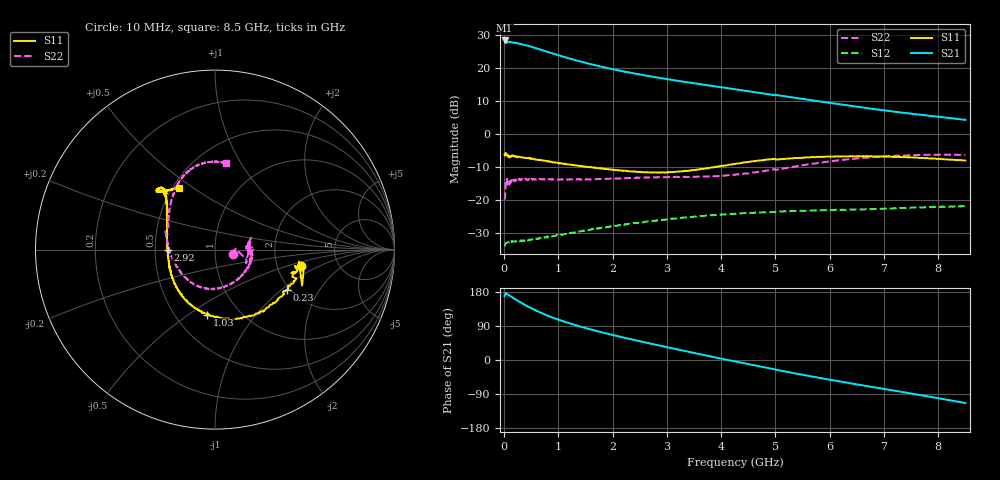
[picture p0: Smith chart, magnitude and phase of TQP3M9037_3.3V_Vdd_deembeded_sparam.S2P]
!TQP3M9037
!De-embedded S-parameters 10MHz to 8.5GHz
!Vdd = +3.3V, Idd = 48mA
!LOT 6052
!Agilent Technologies,E5071C,MY46214511,A.10.06
!Date: Mon Aug 10 15:32:53 2015
!Data & Calibration Information:
!Freq	S11:SOLT2(ON)	S21:SOLT2(ON)	S12:SOLT2(ON)	S22:SOLT2(ON)
!PortZ  Port1:50+j0  Port2:50+j0
!Above PortZ is port z conversion or system Z0 setting when saving the data.
!When reading, reference impedance value at option line is always used.
# Hz S dB R 50
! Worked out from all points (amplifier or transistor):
!   850 points, 10 MHz to 8.5 GHz, reference 50 ohm
!   highest |S21| = 28.3 dB at 10 MHz (marker M1)
!   |S21| within 3 dB of that: start of sweep to 717 MHz
!   unconditionally stable (mu >= 1): start of sweep to 26.62 MHz; 41.85 MHz to end of sweep
!   at 1.42 GHz: K = 1.20, MAG = 22.9 dB, |S12| = -29.3 dB
!   at 4.26 GHz: K = 1.43, MAG = 14.9 dB, |S12| = -24.0 dB
!   at 8.5 GHz: K = 2.32, MAG = 6.7 dB, |S12| = -21.9 dB
!   S11 on the Smith chart (normalised r, x): 10 MHz: 2.73, -0.64; 230 MHz: 1.91, -1.09; 1.03 GHz: 0.71, -0.59; 2.92 GHz: 0.58, -0.00; 8.5 GHz: 0.54, +0.44
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1e7  -6.23 -10.6  28.34 168.8  -33.86 22.8  -19.78 -14.4
5e7  -6.29 -12.2  27.68 173.4  -32.86 8.7  -13.46 18.1
7e7  -6.86 -11.6  27.83 172.5  -32.66 7.2  -14.47 9.1
1.4e8  -6.81 -19.4  27.80 166.6  -32.56 5.4  -14.09 -0.9
2.3e8  -6.78 -29.5  27.60 158.5  -32.34 8.0  -14.38 -7.8
4e8  -7.21 -45.9  26.89 144.2  -31.98 11.3  -13.60 -11.6
5.6e8  -7.52 -61.7  26.15 132.4  -31.72 14.0  -13.65 -17.9
7.6e8  -8.09 -78.2  25.11 119.6  -31.19 16.7  -13.65 -25.1
1.03e9  -8.75 -96.8  23.76 105.0  -30.61 19.4  -13.75 -36.0
1.21e9  -9.20 -106.5  22.86 96.6  -29.89 20.2  -13.60 -42.9
1.43e9  -9.72 -117.9  21.88 87.1  -29.22 19.5  -13.69 -51.8
1.7e9  -10.21 -129.7  20.78 76.8  -28.58 20.0  -13.58 -63.0
2.01e9  -10.77 -142.7  19.62 65.7  -27.81 18.8  -13.42 -74.7
2.39e9  -11.23 -157.4  18.39 53.1  -26.92 15.9  -13.23 -90.1
2.84e9  -11.60 -175.9  17.09 38.9  -26.03 12.2  -13.01 -107.8
2.92e9  -11.57 -179.2  16.87 36.4  -25.88 10.7  -12.97 -111.2
3.57e9  -10.71 156.8  15.23 16.6  -24.83 3.3  -12.80 -138.9
4.26e9  -8.98 138.8  13.58 -4.0  -24.01 -5.9  -12.25 -170.6
5.04e9  -7.64 130.6  11.79 -26.6  -23.38 -17.1  -10.67 153.1
5.67e9  -6.97 130.6  10.24 -43.5  -23.09 -25.4  -8.95 134.0
7.09e9  -6.77 134.5  7.03 -78.5  -22.40 -43.8  -6.62 107.8
8.5e9  -7.97 120.1  4.32 -113.8  -21.94 -65.2  -6.26 82.8
